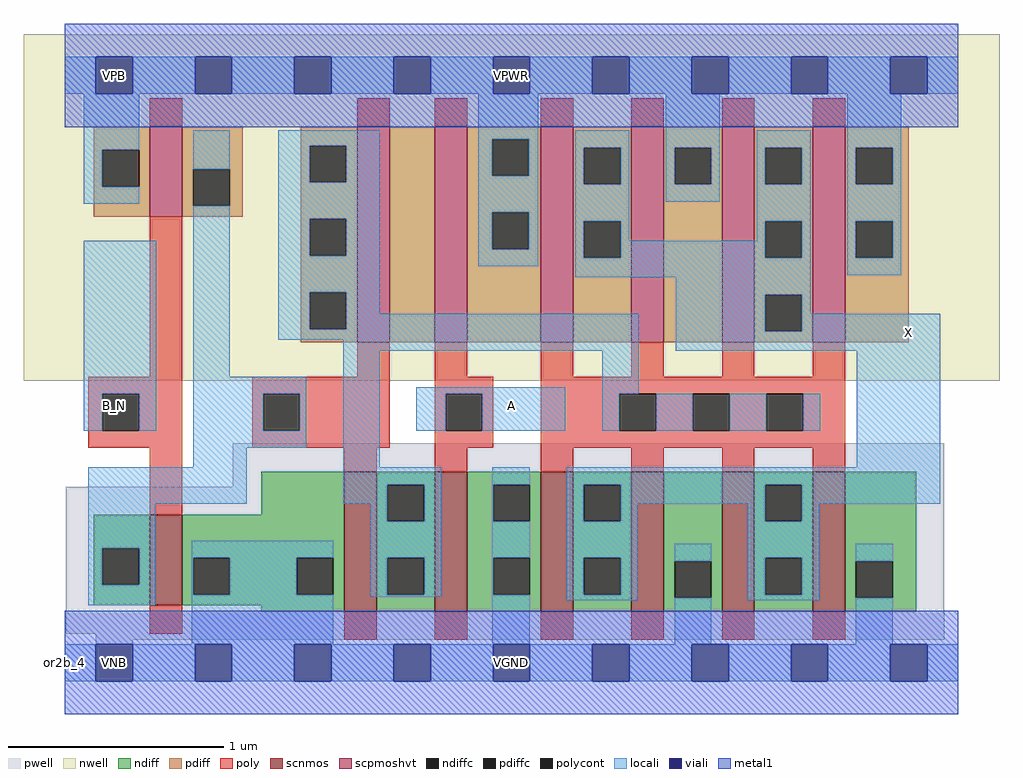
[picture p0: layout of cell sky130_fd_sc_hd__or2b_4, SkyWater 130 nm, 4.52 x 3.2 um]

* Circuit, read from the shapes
.subckt sky130_fd_sc_hd__or2b_4 A B_N VGND VNB VPB VPWR X
XM1 VGND B_N n1 VNB sky130_fd_pr__nfet_01v8 w=0.42 l=0.15
XM2 n2 n1 VGND VNB sky130_fd_pr__nfet_01v8 w=0.65 l=0.15
XM3 VGND A n2 VNB sky130_fd_pr__nfet_01v8 w=0.65 l=0.15
XM4 X n2 VGND VNB sky130_fd_pr__nfet_01v8 w=0.65 l=0.15 m=4
XM5 n1 B_N VPWR VPB sky130_fd_pr__pfet_01v8_hvt w=0.42 l=0.15
XM6 n3 n1 n2 VPB sky130_fd_pr__pfet_01v8_hvt w=1 l=0.15
XM7 VPWR A n3 VPB sky130_fd_pr__pfet_01v8_hvt w=1 l=0.15
XM8 X n2 VPWR VPB sky130_fd_pr__pfet_01v8_hvt w=1 l=0.15 m=4
.ends

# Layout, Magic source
magic
tech sky130A
magscale 1 2
<< nwell >>
rect -38 261 866 582
<< pwell >>
rect 156 163 815 203
rect 1 27 815 163
rect 29 21 815 27
rect 29 -17 63 21
<< scnmos >>
rect 79 53 109 137
rect 259 47 289 177
rect 343 47 373 177
rect 441 47 471 177
rect 525 47 555 177
rect 609 47 639 177
rect 693 47 723 177
<< scpmoshvt >>
rect 79 413 109 497
rect 271 297 301 497
rect 343 297 373 497
rect 441 297 471 497
rect 525 297 555 497
rect 609 297 639 497
rect 693 297 723 497
<< ndiff >>
rect 182 137 259 177
rect 27 106 79 137
rect 27 72 35 106
rect 69 72 79 106
rect 27 53 79 72
rect 109 97 259 137
rect 109 63 119 97
rect 153 63 215 97
rect 249 63 259 97
rect 109 53 259 63
rect 182 47 259 53
rect 289 165 343 177
rect 289 131 299 165
rect 333 131 343 165
rect 289 97 343 131
rect 289 63 299 97
rect 333 63 343 97
rect 289 47 343 63
rect 373 165 441 177
rect 373 131 397 165
rect 431 131 441 165
rect 373 97 441 131
rect 373 63 397 97
rect 431 63 441 97
rect 373 47 441 63
rect 471 165 525 177
rect 471 131 481 165
rect 515 131 525 165
rect 471 97 525 131
rect 471 63 481 97
rect 515 63 525 97
rect 471 47 525 63
rect 555 94 609 177
rect 555 60 565 94
rect 599 60 609 94
rect 555 47 609 60
rect 639 165 693 177
rect 639 131 649 165
rect 683 131 693 165
rect 639 97 693 131
rect 639 63 649 97
rect 683 63 693 97
rect 639 47 693 63
rect 723 94 789 177
rect 723 60 733 94
rect 767 60 789 94
rect 723 47 789 60
<< pdiff >>
rect 27 475 79 497
rect 27 441 35 475
rect 69 441 79 475
rect 27 413 79 441
rect 109 457 165 497
rect 109 423 119 457
rect 153 423 165 457
rect 109 413 165 423
rect 219 479 271 497
rect 219 445 227 479
rect 261 445 271 479
rect 219 411 271 445
rect 219 377 227 411
rect 261 377 271 411
rect 219 343 271 377
rect 219 309 227 343
rect 261 309 271 343
rect 219 297 271 309
rect 301 297 343 497
rect 373 485 441 497
rect 373 451 396 485
rect 430 451 441 485
rect 373 417 441 451
rect 373 383 396 417
rect 430 383 441 417
rect 373 297 441 383
rect 471 477 525 497
rect 471 443 481 477
rect 515 443 525 477
rect 471 409 525 443
rect 471 375 481 409
rect 515 375 525 409
rect 471 297 525 375
rect 555 477 609 497
rect 555 443 565 477
rect 599 443 609 477
rect 555 297 609 443
rect 639 477 693 497
rect 639 443 649 477
rect 683 443 693 477
rect 639 409 693 443
rect 639 375 649 409
rect 683 375 693 409
rect 639 341 693 375
rect 639 307 649 341
rect 683 307 693 341
rect 639 297 693 307
rect 723 477 782 497
rect 723 443 733 477
rect 767 443 782 477
rect 723 409 782 443
rect 723 375 733 409
rect 767 375 782 409
rect 723 297 782 375
<< ndiffc >>
rect 35 72 69 106
rect 119 63 153 97
rect 215 63 249 97
rect 299 131 333 165
rect 299 63 333 97
rect 397 131 431 165
rect 397 63 431 97
rect 481 131 515 165
rect 481 63 515 97
rect 565 60 599 94
rect 649 131 683 165
rect 649 63 683 97
rect 733 60 767 94
<< pdiffc >>
rect 35 441 69 475
rect 119 423 153 457
rect 227 445 261 479
rect 227 377 261 411
rect 227 309 261 343
rect 396 451 430 485
rect 396 383 430 417
rect 481 443 515 477
rect 481 375 515 409
rect 565 443 599 477
rect 649 443 683 477
rect 649 375 683 409
rect 649 307 683 341
rect 733 443 767 477
rect 733 375 767 409
<< poly >>
rect 79 497 109 523
rect 271 497 301 523
rect 343 497 373 523
rect 441 497 471 523
rect 525 497 555 523
rect 609 497 639 523
rect 693 497 723 523
rect 79 265 109 413
rect 271 265 301 297
rect 22 249 109 265
rect 22 215 35 249
rect 69 215 109 249
rect 22 199 109 215
rect 174 249 301 265
rect 174 215 184 249
rect 218 215 301 249
rect 174 199 301 215
rect 343 265 373 297
rect 441 265 471 297
rect 525 265 555 297
rect 609 265 639 297
rect 693 265 723 297
rect 343 249 397 265
rect 343 215 353 249
rect 387 215 397 249
rect 343 199 397 215
rect 441 249 723 265
rect 441 215 514 249
rect 548 215 582 249
rect 616 215 650 249
rect 684 215 723 249
rect 441 199 723 215
rect 79 137 109 199
rect 259 177 289 199
rect 343 177 373 199
rect 441 177 471 199
rect 525 177 555 199
rect 609 177 639 199
rect 693 177 723 199
rect 79 27 109 53
rect 259 21 289 47
rect 343 21 373 47
rect 441 21 471 47
rect 525 21 555 47
rect 609 21 639 47
rect 693 21 723 47
<< polycont >>
rect 35 215 69 249
rect 184 215 218 249
rect 353 215 387 249
rect 514 215 548 249
rect 582 215 616 249
rect 650 215 684 249
<< locali >>
rect 0 527 29 561
rect 63 527 121 561
rect 155 527 213 561
rect 247 527 305 561
rect 339 527 397 561
rect 431 527 489 561
rect 523 527 581 561
rect 615 527 673 561
rect 707 527 765 561
rect 799 527 828 561
rect 18 475 69 527
rect 18 441 35 475
rect 18 425 69 441
rect 119 457 153 493
rect 18 249 85 391
rect 18 215 35 249
rect 69 215 85 249
rect 119 265 153 423
rect 198 479 292 493
rect 198 445 227 479
rect 261 445 292 479
rect 198 411 292 445
rect 198 377 227 411
rect 261 377 292 411
rect 198 343 292 377
rect 383 485 439 527
rect 383 451 396 485
rect 430 451 439 485
rect 383 417 439 451
rect 383 383 396 417
rect 430 383 439 417
rect 383 367 439 383
rect 473 477 523 493
rect 473 443 481 477
rect 515 443 523 477
rect 473 409 523 443
rect 557 477 607 527
rect 557 443 565 477
rect 599 443 607 477
rect 557 427 607 443
rect 641 477 691 493
rect 641 443 649 477
rect 683 443 691 477
rect 473 375 481 409
rect 515 391 523 409
rect 641 409 691 443
rect 641 391 649 409
rect 515 375 649 391
rect 683 375 691 409
rect 473 357 691 375
rect 725 477 775 527
rect 725 443 733 477
rect 767 443 775 477
rect 725 409 775 443
rect 725 375 733 409
rect 767 375 775 409
rect 725 359 775 375
rect 198 309 227 343
rect 261 323 292 343
rect 566 341 691 357
rect 261 309 532 323
rect 198 299 532 309
rect 258 289 532 299
rect 566 307 649 341
rect 683 323 691 341
rect 683 307 811 323
rect 566 289 811 307
rect 119 249 224 265
rect 119 215 184 249
rect 218 215 224 249
rect 119 199 224 215
rect 119 181 169 199
rect 22 147 169 181
rect 258 181 292 289
rect 326 249 464 255
rect 326 215 353 249
rect 387 215 464 249
rect 498 249 532 289
rect 498 215 514 249
rect 548 215 582 249
rect 616 215 650 249
rect 684 215 700 249
rect 734 181 811 289
rect 258 165 349 181
rect 258 147 299 165
rect 22 106 84 147
rect 283 131 299 147
rect 333 131 349 165
rect 22 72 35 106
rect 69 72 84 106
rect 22 53 84 72
rect 118 97 249 113
rect 118 63 119 97
rect 153 63 215 97
rect 118 17 249 63
rect 283 97 349 131
rect 283 63 299 97
rect 333 63 349 97
rect 283 61 349 63
rect 396 165 431 181
rect 396 131 397 165
rect 396 97 431 131
rect 396 63 397 97
rect 396 17 431 63
rect 465 165 811 181
rect 465 131 481 165
rect 515 147 649 165
rect 515 131 531 147
rect 465 97 531 131
rect 633 131 649 147
rect 683 147 811 165
rect 683 131 699 147
rect 465 63 481 97
rect 515 63 531 97
rect 465 58 531 63
rect 565 94 599 110
rect 565 17 599 60
rect 633 97 699 131
rect 633 63 649 97
rect 683 63 699 97
rect 633 58 699 63
rect 733 94 767 110
rect 733 17 767 60
rect 0 -17 29 17
rect 63 -17 121 17
rect 155 -17 213 17
rect 247 -17 305 17
rect 339 -17 397 17
rect 431 -17 489 17
rect 523 -17 581 17
rect 615 -17 673 17
rect 707 -17 765 17
rect 799 -17 828 17
<< viali >>
rect 29 527 63 561
rect 121 527 155 561
rect 213 527 247 561
rect 305 527 339 561
rect 397 527 431 561
rect 489 527 523 561
rect 581 527 615 561
rect 673 527 707 561
rect 765 527 799 561
rect 29 -17 63 17
rect 121 -17 155 17
rect 213 -17 247 17
rect 305 -17 339 17
rect 397 -17 431 17
rect 489 -17 523 17
rect 581 -17 615 17
rect 673 -17 707 17
rect 765 -17 799 17
<< metal1 >>
rect 0 561 828 592
rect 0 527 29 561
rect 63 527 121 561
rect 155 527 213 561
rect 247 527 305 561
rect 339 527 397 561
rect 431 527 489 561
rect 523 527 581 561
rect 615 527 673 561
rect 707 527 765 561
rect 799 527 828 561
rect 0 496 828 527
rect 0 17 828 48
rect 0 -17 29 17
rect 63 -17 121 17
rect 155 -17 213 17
rect 247 -17 305 17
rect 339 -17 397 17
rect 431 -17 489 17
rect 523 -17 581 17
rect 615 -17 673 17
rect 707 -17 765 17
rect 799 -17 828 17
rect 0 -48 828 -17
<< labels >>
flabel locali s 397 221 431 255 0 FreeSans 400 0 0 0 A
port 1 nsew signal input
flabel locali s 29 221 63 255 0 FreeSans 400 0 0 0 B_N
port 2 nsew signal input
flabel locali s 765 289 799 323 0 FreeSans 400 0 0 0 X
port 7 nsew signal output
flabel pwell s 29 -17 63 17 0 FreeSans 200 0 0 0 VNB
port 4 nsew ground bidirectional
flabel nwell s 29 527 63 561 0 FreeSans 200 0 0 0 VPB
port 5 nsew power bidirectional
flabel metal1 s 29 -17 63 17 0 FreeSans 200 0 0 0 VGND
port 3 nsew ground bidirectional abutment
flabel metal1 s 29 527 63 561 0 FreeSans 200 0 0 0 VPWR
port 6 nsew power bidirectional abutment
rlabel comment s 0 0 0 0 4 or2b_4
rlabel metal1 s 0 -48 828 48 1 VGND
port 3 nsew ground bidirectional abutment
rlabel metal1 s 0 496 828 592 1 VPWR
port 6 nsew power bidirectional abutment
<< properties >>
string FIXED_BBOX 0 0 828 544
string GDS_END 1011720
string GDS_FILE $PDKPATH/libs.ref/sky130_fd_sc_hd/gds/sky130_fd_sc_hd.gds
string GDS_START 1004944
string LEFclass CORE
string LEFsite unithd
string LEFsymmetry X Y R90
string path 0.000 0.000 4.140 0.000 
<< end >>
